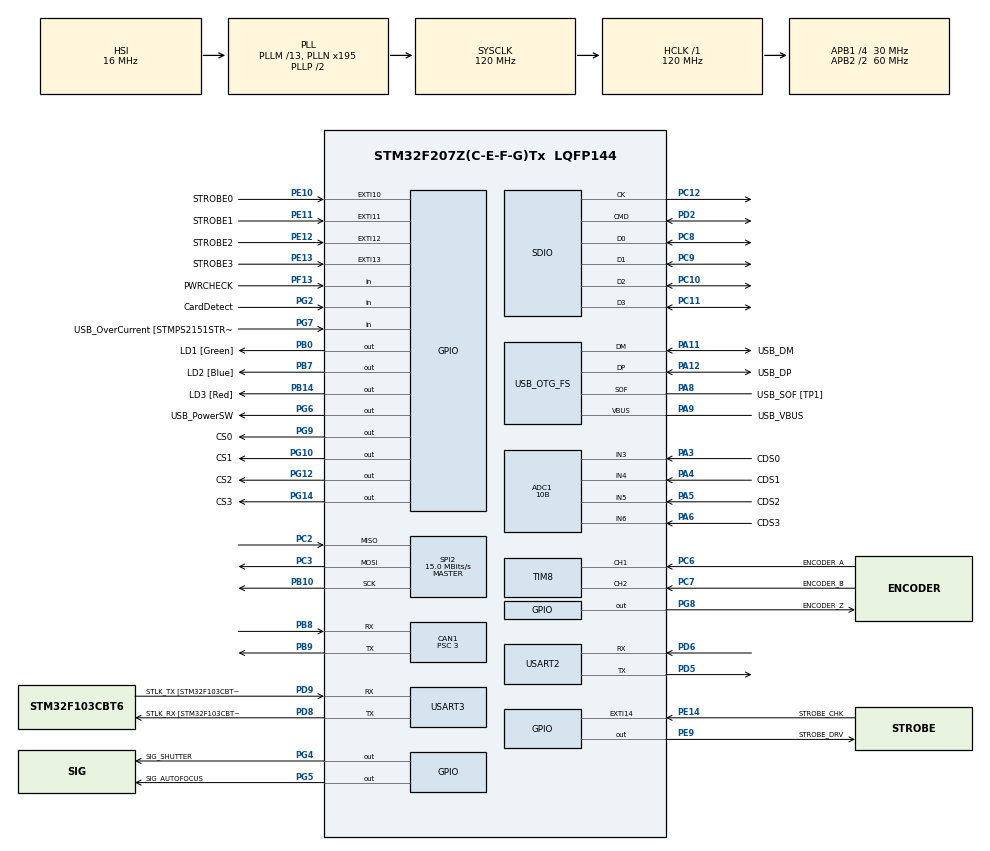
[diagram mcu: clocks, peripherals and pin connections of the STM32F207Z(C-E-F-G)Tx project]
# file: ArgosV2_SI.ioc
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ADC1.Channel-0\#ChannelRegularConversion=ADC_CHANNEL_3
ADC1.Channel-1\#ChannelRegularConversion=ADC_CHANNEL_4
ADC1.Channel-2\#ChannelRegularConversion=ADC_CHANNEL_5
ADC1.Channel-3\#ChannelRegularConversion=ADC_CHANNEL_6
ADC1.NbrOfConversion=4
ADC1.NbrOfConversionFlag=1
ADC1.Rank-0\#ChannelRegularConversion=1
ADC1.Rank-1\#ChannelRegularConversion=2
ADC1.Rank-2\#ChannelRegularConversion=3
ADC1.Rank-3\#ChannelRegularConversion=4
ADC1.Resolution=ADC_RESOLUTION_10B
ADC1.SamplingTime-0\#ChannelRegularConversion=ADC_SAMPLETIME_3CYCLES
ADC1.SamplingTime-1\#ChannelRegularConversion=ADC_SAMPLETIME_3CYCLES
ADC1.SamplingTime-2\#ChannelRegularConversion=ADC_SAMPLETIME_3CYCLES
ADC1.SamplingTime-3\#ChannelRegularConversion=ADC_SAMPLETIME_3CYCLES
ADC1.master=1
CAN1.BS1=CAN_BS1_8TQ
CAN1.CalculateBaudRate=1000000
CAN1.CalculateTimeBit=1000.00
CAN1.CalculateTimeQuantum=100.0
CAN1.Prescaler=3
Dma.ADC1.0.Direction=DMA_PERIPH_TO_MEMORY
Dma.ADC1.0.FIFOMode=DMA_FIFOMODE_DISABLE
Dma.ADC1.0.Instance=DMA2_Stream0
Dma.ADC1.0.MemDataAlignment=DMA_MDATAALIGN_WORD
Dma.ADC1.0.MemInc=DMA_MINC_ENABLE
Dma.ADC1.0.Mode=DMA_CIRCULAR
Dma.ADC1.0.PeriphDataAlignment=DMA_PDATAALIGN_WORD
Dma.ADC1.0.PeriphInc=DMA_PINC_DISABLE
Dma.ADC1.0.Priority=DMA_PRIORITY_LOW
Dma.Request0=ADC1
Dma.Request1=SDIO_RX
Dma.Request2=SDIO_TX
Dma.Request3=SPI2_RX
Dma.Request4=SPI2_TX
Dma.Request5=USART2_RX
Dma.Request6=USART2_TX
Dma.SDIO_RX.1.Direction=DMA_PERIPH_TO_MEMORY
Dma.SDIO_RX.1.FIFOMode=DMA_FIFOMODE_ENABLE
Dma.SDIO_RX.1.FIFOThreshold=DMA_FIFO_THRESHOLD_FULL
Dma.SDIO_RX.1.Instance=DMA2_Stream3
Dma.SDIO_RX.1.MemBurst=DMA_MBURST_INC4
Dma.SDIO_RX.1.MemDataAlignment=DMA_MDATAALIGN_WORD
Dma.SDIO_RX.1.MemInc=DMA_MINC_ENABLE
Dma.SDIO_RX.1.Mode=DMA_PFCTRL
Dma.SDIO_RX.1.PeriphBurst=DMA_PBURST_INC4
Dma.SDIO_RX.1.PeriphDataAlignment=DMA_PDATAALIGN_WORD
Dma.SDIO_RX.1.PeriphInc=DMA_PINC_DISABLE
Dma.SDIO_RX.1.Priority=DMA_PRIORITY_LOW
Dma.SDIO_TX.2.Direction=DMA_MEMORY_TO_PERIPH
Dma.SDIO_TX.2.FIFOMode=DMA_FIFOMODE_ENABLE
Dma.SDIO_TX.2.FIFOThreshold=DMA_FIFO_THRESHOLD_FULL
Dma.SDIO_TX.2.Instance=DMA2_Stream6
Dma.SDIO_TX.2.MemBurst=DMA_MBURST_INC4
Dma.SDIO_TX.2.MemDataAlignment=DMA_MDATAALIGN_WORD
Dma.SDIO_TX.2.MemInc=DMA_MINC_ENABLE
Dma.SDIO_TX.2.Mode=DMA_PFCTRL
Dma.SDIO_TX.2.PeriphBurst=DMA_PBURST_INC4
Dma.SDIO_TX.2.PeriphDataAlignment=DMA_PDATAALIGN_WORD
Dma.SDIO_TX.2.PeriphInc=DMA_PINC_DISABLE
Dma.SDIO_TX.2.Priority=DMA_PRIORITY_LOW
Dma.SPI2_RX.3.Direction=DMA_PERIPH_TO_MEMORY
Dma.SPI2_RX.3.FIFOMode=DMA_FIFOMODE_DISABLE
Dma.SPI2_RX.3.Instance=DMA1_Stream3
Dma.SPI2_RX.3.MemDataAlignment=DMA_MDATAALIGN_BYTE
Dma.SPI2_RX.3.MemInc=DMA_MINC_ENABLE
Dma.SPI2_RX.3.Mode=DMA_NORMAL
Dma.SPI2_RX.3.PeriphDataAlignment=DMA_PDATAALIGN_BYTE
Dma.SPI2_RX.3.PeriphInc=DMA_PINC_DISABLE
Dma.SPI2_RX.3.Priority=DMA_PRIORITY_LOW
Dma.SPI2_TX.4.Direction=DMA_MEMORY_TO_PERIPH
Dma.SPI2_TX.4.FIFOMode=DMA_FIFOMODE_DISABLE
Dma.SPI2_TX.4.Instance=DMA1_Stream4
Dma.SPI2_TX.4.MemDataAlignment=DMA_MDATAALIGN_BYTE
Dma.SPI2_TX.4.MemInc=DMA_MINC_ENABLE
Dma.SPI2_TX.4.Mode=DMA_NORMAL
Dma.SPI2_TX.4.PeriphDataAlignment=DMA_PDATAALIGN_BYTE
Dma.SPI2_TX.4.PeriphInc=DMA_PINC_DISABLE
Dma.SPI2_TX.4.Priority=DMA_PRIORITY_LOW
Dma.USART2_RX.5.Direction=DMA_PERIPH_TO_MEMORY
Dma.USART2_RX.5.FIFOMode=DMA_FIFOMODE_DISABLE
Dma.USART2_RX.5.Instance=DMA1_Stream5
Dma.USART2_RX.5.MemDataAlignment=DMA_MDATAALIGN_BYTE
Dma.USART2_RX.5.MemInc=DMA_MINC_ENABLE
Dma.USART2_RX.5.Mode=DMA_NORMAL
Dma.USART2_RX.5.PeriphDataAlignment=DMA_PDATAALIGN_BYTE
Dma.USART2_RX.5.PeriphInc=DMA_PINC_DISABLE
Dma.USART2_RX.5.Priority=DMA_PRIORITY_LOW
Dma.USART2_TX.6.Direction=DMA_MEMORY_TO_PERIPH
Dma.USART2_TX.6.FIFOMode=DMA_FIFOMODE_DISABLE
Dma.USART2_TX.6.Instance=DMA1_Stream6
Dma.USART2_TX.6.MemDataAlignment=DMA_MDATAALIGN_BYTE
Dma.USART2_TX.6.MemInc=DMA_MINC_ENABLE
Dma.USART2_TX.6.Mode=DMA_NORMAL
Dma.USART2_TX.6.PeriphDataAlignment=DMA_PDATAALIGN_BYTE
Dma.USART2_TX.6.PeriphInc=DMA_PINC_DISABLE
Dma.USART2_TX.6.Priority=DMA_PRIORITY_LOW
FATFS.BSP.number=1
FATFS._CODE_PAGE=949
FATFS._LFN_UNICODE=1
FATFS._USE_LFN=2
FATFS0.BSP.STBoard=false
FATFS0.BSP.api=Unknown
FATFS0.BSP.i2caddr=0
FATFS0.BSP.instance=PG2
FATFS0.BSP.ip=GPIO
FATFS0.BSP.mode=Input
FATFS0.BSP.name=Detect_SDIO
FATFS0.BSP.solution=PG2
Mcu.Family=STM32F2
Mcu.Name=STM32F207Z(C-E-F-G)Tx
Mcu.Package=LQFP144
NVIC.ADC_IRQn=true\:1\:0\:true\:false\:true\:true\:true
NVIC.CAN1_RX0_IRQn=true\:1\:0\:true\:false\:true\:true\:true
NVIC.CAN1_RX1_IRQn=true\:1\:0\:true\:false\:true\:true\:true
NVIC.CAN1_SCE_IRQn=true\:1\:0\:true\:false\:true\:true\:true
NVIC.CAN1_TX_IRQn=true\:1\:0\:true\:false\:true\:true\:true
NVIC.DMA1_Stream3_IRQn=true\:1\:0\:true\:false\:true\:false\:true
NVIC.DMA1_Stream4_IRQn=true\:1\:0\:true\:false\:true\:false\:true
NVIC.DMA1_Stream5_IRQn=true\:1\:0\:true\:false\:true\:false\:true
NVIC.DMA1_Stream6_IRQn=true\:1\:0\:true\:false\:true\:false\:true
NVIC.DMA2_Stream0_IRQn=true\:1\:0\:true\:false\:true\:false\:true
NVIC.DMA2_Stream3_IRQn=true\:1\:0\:true\:false\:true\:false\:true
NVIC.DMA2_Stream6_IRQn=true\:1\:0\:true\:false\:true\:false\:true
NVIC.EXTI15_10_IRQn=true\:0\:0\:true\:false\:true\:true\:true
NVIC.OTG_FS_IRQn=true\:1\:0\:true\:false\:true\:false\:true
NVIC.PriorityGroup=NVIC_PRIORITYGROUP_4
NVIC.SDIO_IRQn=true\:1\:0\:true\:false\:true\:true\:true
NVIC.SPI2_IRQn=true\:1\:0\:true\:false\:true\:true\:true
NVIC.TIM3_IRQn=true\:1\:0\:true\:false\:true\:true\:true
NVIC.USART2_IRQn=true\:1\:0\:true\:false\:true\:true\:true
PA1.GPIO_Label=RMII_REF_CLK [LAN8742A-CZ-TR_REFCLK0]
PA1.Signal=ETH_REF_CLK
PA10.GPIO_Label=USB_ID
PA10.Signal=USB_OTG_FS_ID
PA11.GPIO_Label=USB_DM
PA11.Mode=Device_Only
PA11.Signal=USB_OTG_FS_DM
PA12.GPIO_Label=USB_DP
PA12.Mode=Device_Only
PA12.Signal=USB_OTG_FS_DP
PA13.GPIO_Label=TMS
PA13.Mode=Serial_Wire
PA13.Signal=SYS_JTMS-SWDIO
PA14.GPIO_Label=TCK
PA14.Mode=Serial_Wire
PA14.Signal=SYS_JTCK-SWCLK
PA2.GPIO_Label=RMII_MDIO [LAN8742A-CZ-TR_MDIO]
PA2.Signal=ETH_MDIO
PA3.GPIO_Label=CDS0
PA3.Signal=ADCx_IN3
PA4.GPIO_Label=CDS1
PA4.Signal=ADCx_IN4
PA5.GPIO_Label=CDS2
PA5.Signal=ADCx_IN5
PA6.GPIO_Label=CDS3
PA6.Signal=ADCx_IN6
PA7.GPIO_Label=RMII_CRS_DV [LAN8742A-CZ-TR_CRS_DV]
PA7.Signal=ETH_CRS_DV
PA8.GPIO_Label=USB_SOF [TP1]
PA8.Mode=Activate_SOF_FS
PA8.Signal=USB_OTG_FS_SOF
PA9.GPIO_Label=USB_VBUS
PA9.Mode=Activate_VBUS
PA9.Signal=USB_OTG_FS_VBUS
PB0.GPIO_Label=LD1 [Green]
PB0.GPIO_Speed=GPIO_SPEED_FREQ_VERY_HIGH
PB0.Signal=GPIO_Output
PB10.Mode=Full_Duplex_Master
PB10.Signal=SPI2_SCK
PB13.GPIO_Label=RMII_TXD1 [LAN8742A-CZ-TR_TXD1]
PB13.Signal=ETH_TXD1
PB14.GPIO_Label=LD3 [Red]
PB14.GPIO_Speed=GPIO_SPEED_FREQ_VERY_HIGH
PB14.Signal=GPIO_Output
PB3.GPIO_Label=SWO
PB3.Signal=SYS_JTDO-SWO
PB7.GPIO_Label=LD2 [Blue]
PB7.GPIO_Speed=GPIO_SPEED_FREQ_VERY_HIGH
PB7.Signal=GPIO_Output
PB8.Mode=CAN_Activate
PB8.Signal=CAN1_RX
PB9.Mode=CAN_Activate
PB9.Signal=CAN1_TX
PC1.GPIO_Label=RMII_MDC [LAN8742A-CZ-TR_MDC]
PC1.Signal=ETH_MDC
PC10.GPIO_PuPd=GPIO_PULLUP
PC10.Mode=SD_4_bits_Wide_bus
PC10.Signal=SDIO_D2
PC11.GPIO_PuPd=GPIO_PULLUP
PC11.Mode=SD_4_bits_Wide_bus
PC11.Signal=SDIO_D3
PC12.GPIO_PuPd=GPIO_NOPULL
PC12.Mode=SD_4_bits_Wide_bus
PC12.Signal=SDIO_CK
PC14-OSC32_IN.Mode=LSE-External-Oscillator
PC14-OSC32_IN.Signal=RCC_OSC32_IN
PC15-OSC32_OUT.Mode=LSE-External-Oscillator
PC15-OSC32_OUT.Signal=RCC_OSC32_OUT
PC2.Mode=Full_Duplex_Master
PC2.Signal=SPI2_MISO
PC3.Mode=Full_Duplex_Master
PC3.Signal=SPI2_MOSI
PC4.GPIO_Label=RMII_RXD0 [LAN8742A-CZ-TR_RXD0]
PC4.Signal=ETH_RXD0
PC5.GPIO_Label=RMII_RXD1 [LAN8742A-CZ-TR_RXD1]
PC5.Signal=ETH_RXD1
PC6.GPIO_Label=ENCODER_A
PC6.Signal=S_TIM8_CH1
PC7.GPIO_Label=ENCODER_B
PC7.Signal=S_TIM8_CH2
PC8.GPIO_PuPd=GPIO_PULLUP
PC8.Mode=SD_4_bits_Wide_bus
PC8.Signal=SDIO_D0
PC9.GPIO_PuPd=GPIO_PULLUP
PC9.Mode=SD_4_bits_Wide_bus
PC9.Signal=SDIO_D1
PD2.GPIO_PuPd=GPIO_PULLUP
PD2.Mode=SD_4_bits_Wide_bus
PD2.Signal=SDIO_CMD
PD5.Mode=Asynchronous
PD5.Signal=USART2_TX
PD6.Mode=Asynchronous
PD6.Signal=USART2_RX
PD8.GPIO_Label=STLK_RX [STM32F103CBT6_PA3]
PD8.Mode=Asynchronous
PD8.Signal=USART3_TX
PD9.GPIO_Label=STLK_TX [STM32F103CBT6_PA2]
PD9.Mode=Asynchronous
PD9.Signal=USART3_RX
PE10.GPIO_Label=STROBE0
PE10.Signal=GPXTI10
PE11.GPIO_Label=STROBE1
PE11.Signal=GPXTI11
PE12.GPIO_Label=STROBE2
PE12.Signal=GPXTI12
PE13.GPIO_Label=STROBE3
PE13.Signal=GPXTI13
PE14.GPIO_Label=STROBE_CHK
PE14.Signal=GPXTI14
PE9.GPIO_Label=STROBE_DRV
PE9.GPIO_Speed=GPIO_SPEED_FREQ_VERY_HIGH
PE9.Signal=GPIO_Output
PF13.GPIO_Label=PWRCHECK
PF13.GPIO_PuPd=GPIO_PULLDOWN
PF13.Signal=GPIO_Input
PG10.GPIO_Label=CS1
PG10.Signal=GPIO_Output
PG11.GPIO_Label=RMII_TX_EN [LAN8742A-CZ-TR_TXEN]
PG11.Signal=ETH_TX_EN
PG12.GPIO_Label=CS2
PG12.Signal=GPIO_Output
PG13.GPIO_Label=RMII_TXD0 [LAN8742A-CZ-TR_TXD0]
PG13.Signal=ETH_TXD0
PG14.GPIO_Label=CS3
PG14.Signal=GPIO_Output
PG2.GPIO_Label=CardDetect
PG2.GPIO_PuPd=GPIO_PULLUP
PG2.Signal=GPIO_Input
PG4.GPIO_Label=SIG_SHUTTER
PG4.GPIO_Speed=GPIO_SPEED_FREQ_VERY_HIGH
PG4.Signal=GPIO_Output
PG5.GPIO_Label=SIG_AUTOFOCUS
PG5.Signal=GPIO_Output
PG6.GPIO_Label=USB_PowerSW
PG6.Signal=GPIO_Output
PG7.GPIO_Label=USB_OverCurrent [STMPS2151STR_FAULT]
PG7.Signal=GPIO_Input
PG8.GPIO_Label=ENCODER_Z
PG8.Signal=GPIO_Output
PG9.GPIO_Label=CS0
PG9.Signal=GPIO_Output
PH0-OSC_IN.GPIO_Label=MCO [STM32F103CBT6_PA8]
PH0-OSC_IN.Mode=HSE-External-Clock-Source
PH0-OSC_IN.Signal=RCC_OSC_IN
PH1-OSC_OUT.Mode=HSE-External-Clock-Source
PH1-OSC_OUT.Signal=RCC_OSC_OUT
ProjectManager.HeapSize=0x400
ProjectManager.StackSize=0x400
ProjectManager.TargetToolchain=STM32CubeIDE
RCC.48MHZClocksFreq_Value=48000000
RCC.AHBFreq_Value=120000000
RCC.APB1CLKDivider=RCC_HCLK_DIV4
RCC.APB1Freq_Value=30000000
RCC.APB1TimFreq_Value=60000000
RCC.APB2CLKDivider=RCC_HCLK_DIV2
RCC.APB2Freq_Value=60000000
RCC.APB2TimFreq_Value=120000000
RCC.CortexFreq_Value=120000000
RCC.HCLKFreq_Value=120000000
RCC.HSE_VALUE=8000000
RCC.HSI_VALUE=16000000
RCC.PLLM=13
RCC.PLLMUL=RCC_PLL_MUL9
RCC.PLLN=195
RCC.PLLQ=5
RCC.PRESCALERUSB=RCC_USBCLKSOURCE_PLL_DIV1_5
RCC.SYSCLKFreq_VALUE=120000000
RCC.SYSCLKSource=RCC_SYSCLKSOURCE_PLLCLK
RCC.SYSCLKSourceVirtual=RCC_SYSCLKSOURCE_PLLCLK
RCC.USBFreq_Value=48000000
RCC.VCOOutputFreq_Value=240000000
SDIO.ClockDiv=1
SH.ADCx_IN3.0=ADC1_IN3,IN3
SH.ADCx_IN4.0=ADC1_IN4,IN4
SH.ADCx_IN5.0=ADC1_IN5,IN5
SH.ADCx_IN6.0=ADC1_IN6,IN6
SH.S_TIM8_CH1.0=TIM8_CH1,Encoder_Interface
SH.S_TIM8_CH2.0=TIM8_CH2,Encoder_Interface
SPI2.CalculateBaudRate=15.0 MBits/s
SPI2.Direction=SPI_DIRECTION_2LINES
SPI2.Mode=SPI_MODE_MASTER
SPI2.VirtualType=VM_MASTER
TIM3.Period=44
TIM3.Prescaler=5999
TIM8.AutoReloadPreload=TIM_AUTORELOAD_PRELOAD_ENABLE
TIM8.EncoderMode=TIM_ENCODERMODE_TI1
USART2.VirtualMode=VM_ASYNC
USART3.VirtualMode=VM_ASYNC
USB_DEVICE.APP_RX_DATA_SIZE-CDC_FS=200
USB_DEVICE.APP_TX_DATA_SIZE-CDC_FS=200
USB_DEVICE.CLASS_NAME_FS=CDC
USB_DEVICE.MANUFACTURER_STRING-CDC_FS=Stryx.Inc
USB_DEVICE.PRODUCT_STRING_CDC_FS=WebMMS_Main
USB_DEVICE.VirtualMode-CDC_FS=Cdc
USB_DEVICE.VirtualModeFS=Cdc_FS
USB_OTG_FS.VirtualMode=Device_Only
VP_FATFS_VS_SDIO.Mode=SDIO
VP_TIM3_VS_ClockSourceINT.Mode=Internal
VP_USB_DEVICE_VS_USB_DEVICE_CDC_FS.Mode=CDC_FS
board=NUCLEO-F207ZG

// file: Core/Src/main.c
/* USER CODE BEGIN Header */
/**
 ******************************************************************************
 * @file           : main.c
 * @brief          : Main program body
 ******************************************************************************
 * @attention
 *
 * <h2><center>&copy; Copyright (c) 2020 STMicroelectronics.
 * All rights reserved.</center></h2>
 *
 * This software component is licensed by ST under BSD 3-Clause license,
 * the "License"; You may not use this file except in compliance with the
 * License. You may obtain a copy of the License at:
 *                        opensource.org/licenses/BSD-3-Clause
 *
 ******************************************************************************
 */
/* USER CODE END Header */
#include "main.h"
#include "fatfs.h"
#include "usb_device.h"

/* USER CODE BEGIN Includes */
#include <stdio.h>
#include <stdbool.h>
#include <string.h>
#include <stdlib.h>

/* USER CODE END Includes */

/* USER CODE BEGIN PD */
#define BACKUP_FLASH_ADDR 0x080E0000

#define TARGET_PULSE_NUMBER		1

#define DIVISOR					1

#define ENCODER_PULSE_COUNT		2000

#define TARGET_DISTANCE			1.0f
/* USER CODE END PD */

ADC_HandleTypeDef hadc1;
DMA_HandleTypeDef hdma_adc1;

CAN_HandleTypeDef hcan1;

SD_HandleTypeDef hsd;
DMA_HandleTypeDef hdma_sdio_rx;
DMA_HandleTypeDef hdma_sdio_tx;

SPI_HandleTypeDef hspi2;
DMA_HandleTypeDef hdma_spi2_rx;
DMA_HandleTypeDef hdma_spi2_tx;

TIM_HandleTypeDef htim8;

UART_HandleTypeDef huart2;
UART_HandleTypeDef huart3;
DMA_HandleTypeDef hdma_usart2_rx;
DMA_HandleTypeDef hdma_usart2_tx;

/* USER CODE BEGIN PV */

extern struct netif gnetif;

// CAN BUS
CAN_FilterTypeDef sFilterConfig;
CAN_RxHeaderTypeDef RxHeader;
CAN_TxHeaderTypeDef TxHeader;
uint8_t RxData[8];
uint8_t TxData[8]; // uint8_t TxData[8];
uint32_t TxMailBox;

//SD CARD
FATFS SDFatFs; /* File system object for SD disk logical drive */
FIL MyFile; /* File object */
char SDPath[4]; /* SD disk logical drive path */
static uint8_t buffer[_MAX_SS]; /* a work buffer for the f_mkfs() */

// DMI
int A_PLS_CNT = 0, B_PLS_CNT = 0;

// USB
bool bFlag = false;
uint8_t UFlag = 0, EnterFlag = 0; // USB Select Flag, Enter key input
char UTxbuf[300], buf[130]; // USB Tx, ADC print buf
extern uint8_t URxbuf[200]; // USB Rx
int usbselect = 2;

// ADC, STROBE
uint8_t setcdsvalue;
int adcValue[4]; // ADC DATA SAVE
uint16_t stb0, stb1, stb2, stb3, stb_all; // STROBE Count
uint8_t stbchk0, stbchk1, stbchk2, stbchk3; // STROBE CHECK FLAG

// UDP FLAG
extern uint8_t udp_flag;
extern uint8_t udp_data;
uint8_t udpIntput = 0;
uint8_t udpStop = 0;

// Camera
uint8_t cameraSelect = 0;
uint8_t cameraValue = 0;

// value
int encoderval = 0;

/* USER CODE END PV */

void SystemClock_Config(void);
static void MX_GPIO_Init(void);
static void MX_DMA_Init(void);
static void MX_USART3_UART_Init(void);
static void MX_TIM3_Init(void);
static void MX_ADC1_Init(void);
static void MX_SDIO_SD_Init(void);
static void MX_TIM8_Init(void);
static void MX_SPI2_Init(void);
static void MX_CAN1_Init(void);
static void MX_USART2_UART_Init(void);

/* USER CODE BEGIN 0 */
void HAL_GPIO_EXTI_Callback(uint16_t GPIO_Pin)
{ // Strobe CHK
	if (GPIO_Pin & STROBE0_Pin)
	{
		HAL_GPIO_TogglePin(LD1_GPIO_Port, LD1_Pin);
		stbchk0 = 1;
		stb0++;
	}
	if (GPIO_Pin & STROBE1_Pin)
	{
		HAL_GPIO_TogglePin(LD2_GPIO_Port, LD2_Pin);
		stbchk1 = 1;
		stb1++;
	}
	if (GPIO_Pin & STROBE2_Pin)
	{
		//HAL_GPIO_TogglePin(LD3_GPIO_Port, LD3_Pin);
		stbchk2 = 1;
		stb2++;
	}
	if (GPIO_Pin & STROBE3_Pin)
	{
		stbchk3 = 1;
		stb3++;
	}
	/*
	 if (GPIO_Pin & STROBE_CHK_Pin)
	 {
	 stb_all++;
	 HAL_GPIO_WritePin(STROBE_DRV_GPIO_Port, STROBE_DRV_Pin, SET);
	 }
	 */
	if ((stbchk0 == 1 && stbchk1) == 1 || (stbchk2 == 1 && stbchk3 == 1)) // if (stbchk0 == 1 && stbchk1 == 1 && stbchk2 == 1 && stbchk3 == 1)
	{
		HAL_GPIO_TogglePin(LD3_GPIO_Port, LD3_Pin);
		HAL_GPIO_WritePin(STROBE_DRV_GPIO_Port, STROBE_DRV_Pin, GPIO_PIN_SET);
		stbchk0 = 0;
		stbchk1 = 0;
		stbchk2 = 0;
		stbchk3 = 0;
	}
}

void CAN_Transmit(int data)
{
	TxMailBox = HAL_CAN_GetTxMailboxesFreeLevel(&hcan1);
	TxData[0] = data;
	HAL_CAN_AddTxMessage(&hcan1, &TxHeader, TxData, &TxMailBox);
}

void Camera_Configuration(uint8_t camera, uint16_t value)
{
	// SPI 1. CS pin reset >> SPI Transmit >> CS pin set
	switch (camera)
	{
	case 0:
		HAL_GPIO_WritePin(CS0_GPIO_Port, CS0_Pin, GPIO_PIN_RESET);
		HAL_SPI_Transmit(&hspi2, &value, 2, 1000);
		HAL_GPIO_WritePin(CS0_GPIO_Port, CS0_Pin, GPIO_PIN_SET);
		break;
	case 1:
		HAL_GPIO_WritePin(CS1_GPIO_Port, CS1_Pin, GPIO_PIN_RESET);
		HAL_SPI_Transmit(&hspi2, &value, 2, 1000);
		HAL_GPIO_WritePin(CS1_GPIO_Port, CS1_Pin, GPIO_PIN_SET);
		break;
	case 2:
		HAL_GPIO_WritePin(CS2_GPIO_Port, CS2_Pin, GPIO_PIN_RESET);
		HAL_SPI_Transmit(&hspi2, &value, 2, 1000);
		HAL_GPIO_WritePin(CS2_GPIO_Port, CS2_Pin, GPIO_PIN_SET);
		break;
	case 3:
		HAL_GPIO_WritePin(CS3_GPIO_Port, CS3_Pin, GPIO_PIN_RESET);
		HAL_SPI_Transmit(&hspi2, &value, 2, 1000);
		HAL_GPIO_WritePin(CS3_GPIO_Port, CS3_Pin, GPIO_PIN_SET);
		break;
	default:
		break;
	}
}
void DSLR_Action()
{
	HAL_GPIO_WritePin(SIG_AUTOFOCUS_GPIO_Port, SIG_AUTOFOCUS_Pin, GPIO_PIN_SET);
	HAL_GPIO_WritePin(SIG_SHUTTER_GPIO_Port, SIG_SHUTTER_Pin, GPIO_PIN_SET);
	HAL_GPIO_WritePin(STROBE_DRV_GPIO_Port, STROBE_DRV_Pin, GPIO_PIN_RESET);
	LL_TIM_ClearFlag_UPDATE(TIM3);
	LL_TIM_EnableCounter(TIM3);
}

void ADC_Print()
{
	HAL_ADC_Start_DMA(&hadc1, (uint32_t*) adcValue, 4);
	for (int i = 0; i < 4; i++)
	{
		HAL_DMA_PollForTransfer(&hdma_adc1, HAL_DMA_FULL_TRANSFER, 1000);
	}
	HAL_ADC_Stop_DMA(&hadc1);
	switch (setcdsvalue)
	{
	case 1:
		break;
		sprintf(buf, "#%04d\r\n", adcValue[0]);
	case 2:
		break;
		sprintf(buf, "#%04d%04d\r\n", adcValue[0], adcValue[1]);
	case 3:
		break;
		sprintf(buf, "#%04d%04d%04d\r\n", adcValue[0], adcValue[1],
				adcValue[2]);
	case 4:
		break;
		sprintf(buf, "#%04d%04d%04d%04d\r\n", adcValue[0], adcValue[1],
				adcValue[2], adcValue[3]);
	default:
		sprintf(buf, "#%04d%04d\r\n", adcValue[0], adcValue[1]);
		break;
	}
	CDC_Transmit_FS((uint8_t*) buf, strlen(buf));
}

float diameter(float radius)
{
	return (2 * 3.1415 * radius);
}

float rotationForShoot(float targetDistance, float wheelDiameter)
{
	return (targetDistance / wheelDiameter);
}

int targetPulseCount(float rotationCount, int encoderPulseCnt)
{
	return (int) ((((rotationCount * encoderPulseCnt) / TARGET_PULSE_NUMBER)
			/ DIVISOR));
}

/* USER CODE END 0 */

int main(void)
{
  /* USER CODE BEGIN 1 */
	WheelParam wP;
	memcpy(&wP, (void*) (BACKUP_FLASH_ADDR), sizeof(WheelParam));

	stb0 = 0;
	stb1 = 0;
	stb2 = 0;
	stb3 = 0;
	stb_all = 0;
  /* USER CODE END 1 */

  /* MCU Configuration--------------------------------------------------------*/

  /* Reset of all peripherals, Initializes the Flash interface and the Systick. */
  HAL_Init();

  /* Configure the system clock */
  SystemClock_Config();

  /* Initialize all configured peripherals */
  MX_GPIO_Init();
  MX_DMA_Init();
  MX_USART3_UART_Init();
  MX_USB_DEVICE_Init();
  MX_TIM3_Init();
  MX_ADC1_Init();
  MX_SDIO_SD_Init();
  MX_TIM8_Init();
  MX_FATFS_Init();
  MX_SPI2_Init();
  MX_CAN1_Init();
  MX_USART2_UART_Init();
  /* USER CODE BEGIN 2 */
	LL_TIM_EnableIT_UPDATE(TIM3);
	HAL_TIM_Encoder_Start(&htim8, TIM_CHANNEL_1); // DMI TIMER
	//udp_echoserver_init(); // UDP

	HAL_CAN_Start(&hcan1); // CANBUS
	HAL_CAN_ActivateNotification(&hcan1, CAN_IT_RX_FIFO0_MSG_PENDING);

  /* USER CODE END 2 */

  /* Infinite loop */
  /* USER CODE BEGIN WHILE */
	UFlag = 0;
	bFlag = 0;

	while (1)
	{
		// MX_LWIP_Process();
		// UDP_INPUT();
		switch (UFlag)
		{
		/* Key board Input */
		case 1:
			CDC_Transmit_FS((uint8_t*) "Input EncoderTargetCount\r\n", 26);
			while (!EnterFlag)
			{
			}
			EnterFlag = 0;
			encoderval = atoi(URxbuf);
			wP.encoderTargetCount = encoderval;
			UFlag = 0;
			bFlag = 0;
			break;
		default:
			UFlag = 0;
		}

		if (bFlag == 1)
		{
			A_PLS_CNT = TIM8->CNT;

			// CW CODE
			if (A_PLS_CNT >= wP.encoderTargetCount && A_PLS_CNT < 65500)
			{
				TIM8->CNT = 0;
				ADC_Print();
				//DSLR_Action(); // Driver Control
			}
			else if (A_PLS_CNT <= 0 || A_PLS_CNT > 65500)
			{
				A_PLS_CNT = 0;
				//B_PLS_CNT = 0;
				TIM8->CNT = 0;
			}

			/*
			 // CCW CODE
			 if (A_PLS_CNT <= 65535 - wP.encoderTargetCount && A_PLS_CNT > 35)
			 {
			 TIM8->CNT = 65535;
			 ADC_Print();
			 //DSLR_Action(); // Driver Control
			 }

			 else if (A_PLS_CNT <= 0 || A_PLS_CNT < 35)
			 {
			 A_PLS_CNT = 65535;
			 //B_PLS_CNT = 65535;
			 TIM8->CNT = 65535;
			 }
			 */
		}
    /* USER CODE END WHILE */

	}
}

void SystemClock_Config(void)
{
  RCC_OscInitTypeDef RCC_OscInitStruct = {0};
  RCC_ClkInitTypeDef RCC_ClkInitStruct = {0};

  /** Initializes the RCC Oscillators according to the specified parameters
  * in the RCC_OscInitTypeDef structure.
  */
  RCC_OscInitStruct.OscillatorType = RCC_OSCILLATORTYPE_HSI;
  RCC_OscInitStruct.HSIState = RCC_HSI_ON;
  RCC_OscInitStruct.HSICalibrationValue = RCC_HSICALIBRATION_DEFAULT;
  RCC_OscInitStruct.PLL.PLLState = RCC_PLL_ON;
  RCC_OscInitStruct.PLL.PLLSource = RCC_PLLSOURCE_HSI;
  RCC_OscInitStruct.PLL.PLLM = 13;
  RCC_OscInitStruct.PLL.PLLN = 195;
  RCC_OscInitStruct.PLL.PLLP = RCC_PLLP_DIV2;
  RCC_OscInitStruct.PLL.PLLQ = 5;
  if (HAL_RCC_OscConfig(&RCC_OscInitStruct) != HAL_OK)
  {
    Error_Handler();
  }
  /** Initializes the CPU, AHB and APB buses clocks
  */
  RCC_ClkInitStruct.ClockType = RCC_CLOCKTYPE_HCLK|RCC_CLOCKTYPE_SYSCLK
                              |RCC_CLOCKTYPE_PCLK1|RCC_CLOCKTYPE_PCLK2;
  RCC_ClkInitStruct.SYSCLKSource = RCC_SYSCLKSOURCE_PLLCLK;
  RCC_ClkInitStruct.AHBCLKDivider = RCC_SYSCLK_DIV1;
  RCC_ClkInitStruct.APB1CLKDivider = RCC_HCLK_DIV4;
  RCC_ClkInitStruct.APB2CLKDivider = RCC_HCLK_DIV2;

  if (HAL_RCC_ClockConfig(&RCC_ClkInitStruct, FLASH_LATENCY_3) != HAL_OK)
  {
    Error_Handler();
  }
}

static void MX_ADC1_Init(void)
{

  ADC_ChannelConfTypeDef sConfig = {0};

  /** Configure the global features of the ADC (Clock, Resolution, Data Alignment and number of conversion)
  */
  hadc1.Instance = ADC1;
  hadc1.Init.ClockPrescaler = ADC_CLOCK_SYNC_PCLK_DIV2;
  hadc1.Init.Resolution = ADC_RESOLUTION_10B;
  hadc1.Init.ScanConvMode = ENABLE;
  hadc1.Init.ContinuousConvMode = DISABLE;
  hadc1.Init.DiscontinuousConvMode = DISABLE;
  hadc1.Init.ExternalTrigConvEdge = ADC_EXTERNALTRIGCONVEDGE_NONE;
  hadc1.Init.ExternalTrigConv = ADC_SOFTWARE_START;
  hadc1.Init.DataAlign = ADC_DATAALIGN_RIGHT;
  hadc1.Init.NbrOfConversion = 4;
  hadc1.Init.DMAContinuousRequests = DISABLE;
  hadc1.Init.EOCSelection = ADC_EOC_SINGLE_CONV;
  if (HAL_ADC_Init(&hadc1) != HAL_OK)
  {
    Error_Handler();
  }
  /** Configure for the selected ADC regular channel its corresponding rank in the sequencer and its sample time.
  */
  sConfig.Channel = ADC_CHANNEL_3;
  sConfig.Rank = 1;
  sConfig.SamplingTime = ADC_SAMPLETIME_3CYCLES;
  if (HAL_ADC_ConfigChannel(&hadc1, &sConfig) != HAL_OK)
  {
    Error_Handler();
  }
  /** Configure for the selected ADC regular channel its corresponding rank in the sequencer and its sample time.
  */
  sConfig.Channel = ADC_CHANNEL_4;
  sConfig.Rank = 2;
  if (HAL_ADC_ConfigChannel(&hadc1, &sConfig) != HAL_OK)
  {
    Error_Handler();
  }
  /** Configure for the selected ADC regular channel its corresponding rank in the sequencer and its sample time.
  */
  sConfig.Channel = ADC_CHANNEL_5;
  sConfig.Rank = 3;
  if (HAL_ADC_ConfigChannel(&hadc1, &sConfig) != HAL_OK)
  {
    Error_Handler();
  }
  /** Configure for the selected ADC regular channel its corresponding rank in the sequencer and its sample time.
  */
  sConfig.Channel = ADC_CHANNEL_6;
  sConfig.Rank = 4;
  if (HAL_ADC_ConfigChannel(&hadc1, &sConfig) != HAL_OK)
  {
    Error_Handler();
  }

}

static void MX_CAN1_Init(void)
{

  /* USER CODE BEGIN CAN1_Init 0 */
	CAN_FilterTypeDef sFilterConfig;

  /* USER CODE END CAN1_Init 0 */

  hcan1.Instance = CAN1;
  hcan1.Init.Prescaler = 3;
  hcan1.Init.Mode = CAN_MODE_NORMAL;
  hcan1.Init.SyncJumpWidth = CAN_SJW_1TQ;
  hcan1.Init.TimeSeg1 = CAN_BS1_8TQ;
  hcan1.Init.TimeSeg2 = CAN_BS2_1TQ;
  hcan1.Init.TimeTriggeredMode = DISABLE;
  hcan1.Init.AutoBusOff = DISABLE;
  hcan1.Init.AutoWakeUp = DISABLE;
  hcan1.Init.AutoRetransmission = DISABLE;
  hcan1.Init.ReceiveFifoLocked = DISABLE;
  hcan1.Init.TransmitFifoPriority = DISABLE;
  if (HAL_CAN_Init(&hcan1) != HAL_OK)
  {
    Error_Handler();
  }
  /* USER CODE BEGIN CAN1_Init 2 */
	sFilterConfig.FilterBank = 0;
	sFilterConfig.FilterMode = CAN_FILTERMODE_IDMASK;
	sFilterConfig.FilterScale = CAN_FILTERSCALE_32BIT;
	sFilterConfig.FilterIdHigh = 0x0000 << 5;
	sFilterConfig.FilterIdLow = 0x0000;
	sFilterConfig.FilterMaskIdHigh = 0x0000 << 5;
	sFilterConfig.FilterMaskIdLow = 0x0000;
	//sFilterConfig.FilterFIFOAssignment = CAN_RX_FIFO0;
	sFilterConfig.FilterFIFOAssignment = 0;
	sFilterConfig.FilterActivation = ENABLE;
	//sFilterConfig.SlaveStartFilterBank = 14;
	sFilterConfig.SlaveStartFilterBank = 0;

	if (HAL_CAN_ConfigFilter(&hcan1, &sFilterConfig) != HAL_OK)
	{
		/* Filter configuration Error */
		Error_Handler();
	}

	/*##-5- Configure Transmission process #####################################*/
	TxHeader.StdId = 0x01;
	TxHeader.ExtId = 0x01;
	TxHeader.RTR = CAN_RTR_DATA;
	TxHeader.IDE = CAN_ID_STD;
	TxHeader.DLC = 8;
	TxHeader.TransmitGlobalTime = DISABLE;
  /* USER CODE END CAN1_Init 2 */

}

static void MX_SDIO_SD_Init(void)
{

  hsd.Instance = SDIO;
  hsd.Init.ClockEdge = SDIO_CLOCK_EDGE_RISING;
  hsd.Init.ClockBypass = SDIO_CLOCK_BYPASS_DISABLE;
  hsd.Init.ClockPowerSave = SDIO_CLOCK_POWER_SAVE_DISABLE;
  hsd.Init.BusWide = SDIO_BUS_WIDE_1B;
  hsd.Init.HardwareFlowControl = SDIO_HARDWARE_FLOW_CONTROL_DISABLE;
  hsd.Init.ClockDiv = 1;

}

static void MX_SPI2_Init(void)
{

  /* SPI2 parameter configuration*/
  hspi2.Instance = SPI2;
  hspi2.Init.Mode = SPI_MODE_MASTER;
  hspi2.Init.Direction = SPI_DIRECTION_2LINES;
  hspi2.Init.DataSize = SPI_DATASIZE_8BIT;
  hspi2.Init.CLKPolarity = SPI_POLARITY_LOW;
  hspi2.Init.CLKPhase = SPI_PHASE_1EDGE;
  hspi2.Init.NSS = SPI_NSS_SOFT;
  hspi2.Init.BaudRatePrescaler = SPI_BAUDRATEPRESCALER_2;
  hspi2.Init.FirstBit = SPI_FIRSTBIT_MSB;
  hspi2.Init.TIMode = SPI_TIMODE_DISABLE;
  hspi2.Init.CRCCalculation = SPI_CRCCALCULATION_DISABLE;
  hspi2.Init.CRCPolynomial = 10;
  if (HAL_SPI_Init(&hspi2) != HAL_OK)
  {
    Error_Handler();
  }

}

static void MX_TIM3_Init(void)
{

  LL_TIM_InitTypeDef TIM_InitStruct = {0};

  /* Peripheral clock enable */
  LL_APB1_GRP1_EnableClock(LL_APB1_GRP1_PERIPH_TIM3);

  /* TIM3 interrupt Init */
  NVIC_SetPriority(TIM3_IRQn, NVIC_EncodePriority(NVIC_GetPriorityGrouping(),1, 0));
  NVIC_EnableIRQ(TIM3_IRQn);

  TIM_InitStruct.Prescaler = 5999;
  TIM_InitStruct.CounterMode = LL_TIM_COUNTERMODE_UP;
  TIM_InitStruct.Autoreload = 44;
  TIM_InitStruct.ClockDivision = LL_TIM_CLOCKDIVISION_DIV1;
  LL_TIM_Init(TIM3, &TIM_InitStruct);
  LL_TIM_DisableARRPreload(TIM3);
  LL_TIM_SetClockSource(TIM3, LL_TIM_CLOCKSOURCE_INTERNAL);
  LL_TIM_SetTriggerOutput(TIM3, LL_TIM_TRGO_RESET);
  LL_TIM_DisableMasterSlaveMode(TIM3);

}

static void MX_TIM8_Init(void)
{

  TIM_Encoder_InitTypeDef sConfig = {0};
  TIM_MasterConfigTypeDef sMasterConfig = {0};

  htim8.Instance = TIM8;
  htim8.Init.Prescaler = 0;
  htim8.Init.CounterMode = TIM_COUNTERMODE_UP;
  htim8.Init.Period = 65535;
  htim8.Init.ClockDivision = TIM_CLOCKDIVISION_DIV1;
  htim8.Init.RepetitionCounter = 0;
  htim8.Init.AutoReloadPreload = TIM_AUTORELOAD_PRELOAD_ENABLE;
  sConfig.EncoderMode = TIM_ENCODERMODE_TI1;
  sConfig.IC1Polarity = TIM_ICPOLARITY_RISING;
  sConfig.IC1Selection = TIM_ICSELECTION_DIRECTTI;
  sConfig.IC1Prescaler = TIM_ICPSC_DIV1;
  sConfig.IC1Filter = 0;
  sConfig.IC2Polarity = TIM_ICPOLARITY_RISING;
  sConfig.IC2Selection = TIM_ICSELECTION_DIRECTTI;
  sConfig.IC2Prescaler = TIM_ICPSC_DIV1;
  sConfig.IC2Filter = 0;
  if (HAL_TIM_Encoder_Init(&htim8, &sConfig) != HAL_OK)
  {
    Error_Handler();
  }
  sMasterConfig.MasterOutputTrigger = TIM_TRGO_RESET;
  sMasterConfig.MasterSlaveMode = TIM_MASTERSLAVEMODE_DISABLE;
  if (HAL_TIMEx_MasterConfigSynchronization(&htim8, &sMasterConfig) != HAL_OK)
  {
    Error_Handler();
  }

}

static void MX_USART2_UART_Init(void)
{

  huart2.Instance = USART2;
  huart2.Init.BaudRate = 115200;
  huart2.Init.WordLength = UART_WORDLENGTH_8B;
  huart2.Init.StopBits = UART_STOPBITS_1;
  huart2.Init.Parity = UART_PARITY_NONE;
  huart2.Init.Mode = UART_MODE_TX_RX;
  huart2.Init.HwFlowCtl = UART_HWCONTROL_NONE;
  huart2.Init.OverSampling = UART_OVERSAMPLING_16;
  if (HAL_UART_Init(&huart2) != HAL_OK)
  {
    Error_Handler();
  }

}

static void MX_USART3_UART_Init(void)
{

  huart3.Instance = USART3;
  huart3.Init.BaudRate = 115200;
  huart3.Init.WordLength = UART_WORDLENGTH_8B;
  huart3.Init.StopBits = UART_STOPBITS_1;
  huart3.Init.Parity = UART_PARITY_NONE;
  huart3.Init.Mode = UART_MODE_TX_RX;
  huart3.Init.HwFlowCtl = UART_HWCONTROL_NONE;
  huart3.Init.OverSampling = UART_OVERSAMPLING_16;
  if (HAL_UART_Init(&huart3) != HAL_OK)
  {
    Error_Handler();
  }

}

static void MX_DMA_Init(void)
{

  /* DMA controller clock enable */
  __HAL_RCC_DMA2_CLK_ENABLE();
  __HAL_RCC_DMA1_CLK_ENABLE();

  /* DMA interrupt init */
  /* DMA1_Stream3_IRQn interrupt configuration */
  HAL_NVIC_SetPriority(DMA1_Stream3_IRQn, 1, 0);
  HAL_NVIC_EnableIRQ(DMA1_Stream3_IRQn);
  /* DMA1_Stream4_IRQn interrupt configuration */
  HAL_NVIC_SetPriority(DMA1_Stream4_IRQn, 1, 0);
  HAL_NVIC_EnableIRQ(DMA1_Stream4_IRQn);
  /* DMA1_Stream5_IRQn interrupt configuration */
  HAL_NVIC_SetPriority(DMA1_Stream5_IRQn, 1, 0);
  HAL_NVIC_EnableIRQ(DMA1_Stream5_IRQn);
  /* DMA1_Stream6_IRQn interrupt configuration */
  HAL_NVIC_SetPriority(DMA1_Stream6_IRQn, 1, 0);
  HAL_NVIC_EnableIRQ(DMA1_Stream6_IRQn);
  /* DMA2_Stream0_IRQn interrupt configuration */
  HAL_NVIC_SetPriority(DMA2_Stream0_IRQn, 1, 0);
  HAL_NVIC_EnableIRQ(DMA2_Stream0_IRQn);
  /* DMA2_Stream3_IRQn interrupt configuration */
  HAL_NVIC_SetPriority(DMA2_Stream3_IRQn, 1, 0);
  HAL_NVIC_EnableIRQ(DMA2_Stream3_IRQn);
  /* DMA2_Stream6_IRQn interrupt configuration */
  HAL_NVIC_SetPriority(DMA2_Stream6_IRQn, 1, 0);
  HAL_NVIC_EnableIRQ(DMA2_Stream6_IRQn);

}

static void MX_GPIO_Init(void)
{
  GPIO_InitTypeDef GPIO_InitStruct = {0};

  /* GPIO Ports Clock Enable */
  __HAL_RCC_GPIOC_CLK_ENABLE();
  __HAL_RCC_GPIOH_CLK_ENABLE();
  __HAL_RCC_GPIOA_CLK_ENABLE();
  __HAL_RCC_GPIOB_CLK_ENABLE();
  __HAL_RCC_GPIOF_CLK_ENABLE();
  __HAL_RCC_GPIOE_CLK_ENABLE();
  __HAL_RCC_GPIOD_CLK_ENABLE();
  __HAL_RCC_GPIOG_CLK_ENABLE();

  /*Configure GPIO pin Output Level */
  HAL_GPIO_WritePin(GPIOB, LD1_Pin|LD3_Pin|LD2_Pin, GPIO_PIN_RESET);

  /*Configure GPIO pin Output Level */
  HAL_GPIO_WritePin(STROBE_DRV_GPIO_Port, STROBE_DRV_Pin, GPIO_PIN_RESET);

  /*Configure GPIO pin Output Level */
  HAL_GPIO_WritePin(GPIOG, SIG_SHUTTER_Pin|SIG_AUTOFOCUS_Pin|USB_PowerSW_Pin|ENCODER_Z_Pin
                          |CS0_Pin|CS1_Pin|CS2_Pin|CS3_Pin, GPIO_PIN_RESET);

  /*Configure GPIO pins : RMII_MDC_Pin RMII_RXD0_Pin RMII_RXD1_Pin */
  GPIO_InitStruct.Pin = RMII_MDC_Pin|RMII_RXD0_Pin|RMII_RXD1_Pin;
  GPIO_InitStruct.Mode = GPIO_MODE_AF_PP;
  GPIO_InitStruct.Pull = GPIO_NOPULL;
  GPIO_InitStruct.Speed = GPIO_SPEED_FREQ_VERY_HIGH;
  GPIO_InitStruct.Alternate = GPIO_AF11_ETH;
  HAL_GPIO_Init(GPIOC, &GPIO_InitStruct);

  /*Configure GPIO pins : RMII_REF_CLK_Pin RMII_MDIO_Pin RMII_CRS_DV_Pin */
  GPIO_InitStruct.Pin = RMII_REF_CLK_Pin|RMII_MDIO_Pin|RMII_CRS_DV_Pin;
  GPIO_InitStruct.Mode = GPIO_MODE_AF_PP;
  GPIO_InitStruct.Pull = GPIO_NOPULL;
  GPIO_InitStruct.Speed = GPIO_SPEED_FREQ_VERY_HIGH;
  GPIO_InitStruct.Alternate = GPIO_AF11_ETH;
  HAL_GPIO_Init(GPIOA, &GPIO_InitStruct);

  /*Configure GPIO pins : LD1_Pin LD3_Pin LD2_Pin */
  GPIO_InitStruct.Pin = LD1_Pin|LD3_Pin|LD2_Pin;
  GPIO_InitStruct.Mode = GPIO_MODE_OUTPUT_PP;
  GPIO_InitStruct.Pull = GPIO_NOPULL;
  GPIO_InitStruct.Speed = GPIO_SPEED_FREQ_VERY_HIGH;
  HAL_GPIO_Init(GPIOB, &GPIO_InitStruct);

  /*Configure GPIO pin : PWRCHECK_Pin */
  GPIO_InitStruct.Pin = PWRCHECK_Pin;
  GPIO_InitStruct.Mode = GPIO_MODE_INPUT;
  GPIO_InitStruct.Pull = GPIO_PULLDOWN;
  HAL_GPIO_Init(PWRCHECK_GPIO_Port, &GPIO_InitStruct);

  /*Configure GPIO pin : STROBE_DRV_Pin */
  GPIO_InitStruct.Pin = STROBE_DRV_Pin;
  GPIO_InitStruct.Mode = GPIO_MODE_OUTPUT_PP;
  GPIO_InitStruct.Pull = GPIO_NOPULL;
  GPIO_InitStruct.Speed = GPIO_SPEED_FREQ_VERY_HIGH;
  HAL_GPIO_Init(STROBE_DRV_GPIO_Port, &GPIO_InitStruct);

  /*Configure GPIO pins : STROBE0_Pin STROBE1_Pin STROBE2_Pin STROBE3_Pin
                           STROBE_CHK_Pin */
  GPIO_InitStruct.Pin = STROBE0_Pin|STROBE1_Pin|STROBE2_Pin|STROBE3_Pin
                          |STROBE_CHK_Pin;
  GPIO_InitStruct.Mode = GPIO_MODE_IT_RISING;
  GPIO_InitStruct.Pull = GPIO_NOPULL;
  HAL_GPIO_Init(GPIOE, &GPIO_InitStruct);

  /*Configure GPIO pin : RMII_TXD1_Pin */
  GPIO_InitStruct.Pin = RMII_TXD1_Pin;
  GPIO_InitStruct.Mode = GPIO_MODE_AF_PP;
  GPIO_InitStruct.Pull = GPIO_NOPULL;
  GPIO_InitStruct.Speed = GPIO_SPEED_FREQ_VERY_HIGH;
  GPIO_InitStruct.Alternate = GPIO_AF11_ETH;
  HAL_GPIO_Init(RMII_TXD1_GPIO_Port, &GPIO_InitStruct);

  /*Configure GPIO pin : CardDetect_Pin */
  GPIO_InitStruct.Pin = CardDetect_Pin;
  GPIO_InitStruct.Mode = GPIO_MODE_INPUT;
  GPIO_InitStruct.Pull = GPIO_PULLUP;
  HAL_GPIO_Init(CardDetect_GPIO_Port, &GPIO_InitStruct);

  /*Configure GPIO pin : SIG_SHUTTER_Pin */
  GPIO_InitStruct.Pin = SIG_SHUTTER_Pin;
  GPIO_InitStruct.Mode = GPIO_MODE_OUTPUT_PP;
  GPIO_InitStruct.Pull = GPIO_NOPULL;
  GPIO_InitStruct.Speed = GPIO_SPEED_FREQ_VERY_HIGH;
  HAL_GPIO_Init(SIG_SHUTTER_GPIO_Port, &GPIO_InitStruct);

  /*Configure GPIO pins : SIG_AUTOFOCUS_Pin USB_PowerSW_Pin ENCODER_Z_Pin CS0_Pin
                           CS1_Pin CS2_Pin CS3_Pin */
  GPIO_InitStruct.Pin = SIG_AUTOFOCUS_Pin|USB_PowerSW_Pin|ENCODER_Z_Pin|CS0_Pin
                          |CS1_Pin|CS2_Pin|CS3_Pin;
  GPIO_InitStruct.Mode = GPIO_MODE_OUTPUT_PP;
  GPIO_InitStruct.Pull = GPIO_NOPULL;
  GPIO_InitStruct.Speed = GPIO_SPEED_FREQ_LOW;
  HAL_GPIO_Init(GPIOG, &GPIO_InitStruct);

  /*Configure GPIO pin : USB_OverCurrent_Pin */
  GPIO_InitStruct.Pin = USB_OverCurrent_Pin;
  GPIO_InitStruct.Mode = GPIO_MODE_INPUT;
  GPIO_InitStruct.Pull = GPIO_NOPULL;
  HAL_GPIO_Init(USB_OverCurrent_GPIO_Port, &GPIO_InitStruct);

  /*Configure GPIO pins : RMII_TX_EN_Pin RMII_TXD0_Pin */
  GPIO_InitStruct.Pin = RMII_TX_EN_Pin|RMII_TXD0_Pin;
  GPIO_InitStruct.Mode = GPIO_MODE_AF_PP;
  GPIO_InitStruct.Pull = GPIO_NOPULL;
  GPIO_InitStruct.Speed = GPIO_SPEED_FREQ_VERY_HIGH;
  GPIO_InitStruct.Alternate = GPIO_AF11_ETH;
  HAL_GPIO_Init(GPIOG, &GPIO_InitStruct);

  /* EXTI interrupt init*/
  HAL_NVIC_SetPriority(EXTI15_10_IRQn, 0, 0);
  HAL_NVIC_EnableIRQ(EXTI15_10_IRQn);

}

void Error_Handler(void)
{
}

/************************ (C) COPYRIGHT STMicroelectronics *****END OF FILE****/
